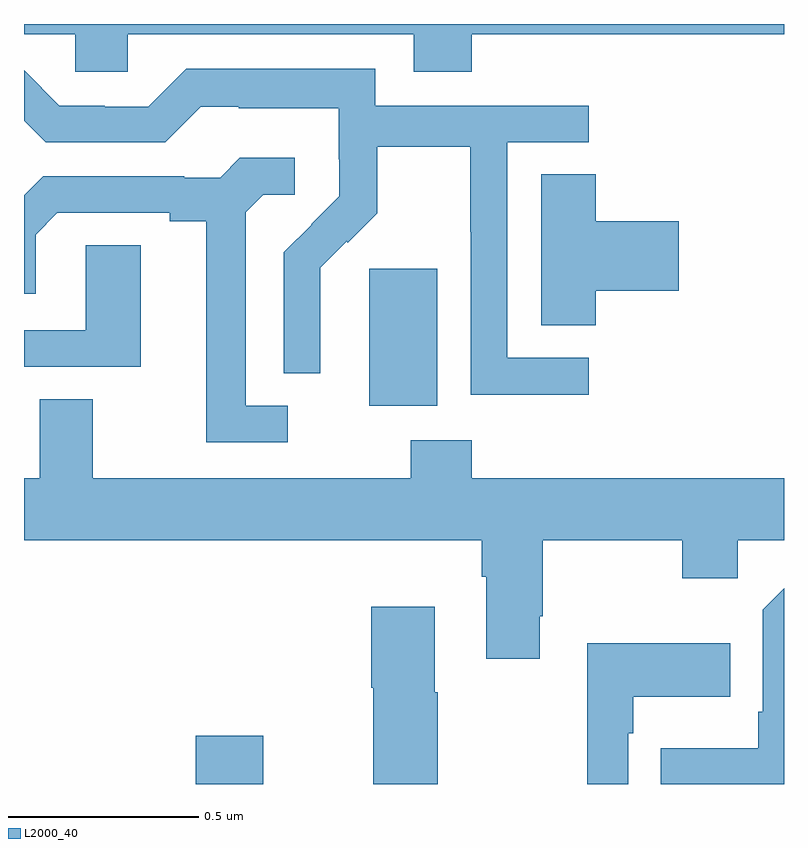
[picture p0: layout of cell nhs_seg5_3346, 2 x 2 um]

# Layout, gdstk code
import gdstk
lib = gdstk.Library(unit=1e-6, precision=1e-09)
def R(c, l, rs):  # rectangles x0, y0, x1, y1
    for r in rs: c.add(gdstk.rectangle(r[:2], r[2:], *l))
def P(c, l, *ps):  # polygons
    for p in ps: c.add(gdstk.Polygon(p, *l))
L2000_40 = (2000, 40)

nhs_seg5_3346 = lib.new_cell('nhs_seg5_3346')
R(nhs_seg5_3346, L2000_40, [(156.452,842.799,156.63,842.926), (156.908,843.794,157.087,844.155)])
P(nhs_seg5_3346, L2000_40, [(157.178,844.772),(158,844.772),(158,844.799),(156,844.799),(156,844.772),(156.135,844.772),(156.135,844.674),(156.273,844.674),(156.273,844.772),(157.025,844.772),(157.025,844.673),(157.178,844.673)],
  [(157.486,843.921),(157.272,843.921),(157.272,844.488),(157.486,844.488),(157.486,844.584),(156.924,844.584),(156.924,844.681),(156.427,844.681),(156.327,844.581),(156.212,844.581),(156.212,844.584),(156.093,844.584),(156,844.677),(156,844.545),(156.057,844.488),(156.372,844.488),(156.465,844.581),(156.565,844.581),(156.565,844.577),(156.828,844.577),(156.828,844.443),(156.83,844.443),(156.83,844.346),(156.756,844.272),(156.757,844.271),(156.684,844.198),(156.684,843.88),(156.78,843.88),(156.78,844.034),(156.779,844.034),(156.779,844.157),(156.849,844.227),(156.852,844.224),(156.929,844.301),(156.929,844.476),(157.174,844.476),(157.174,844.252),(157.176,844.252),(157.176,843.823),(157.486,843.823)],
  [(156.694,843.795),(156.583,843.795),(156.583,844.303),(156.63,844.35),(156.712,844.35),(156.712,844.447),(156.568,844.447),(156.516,844.395),(156.422,844.395),(156.422,844.398),(156.05,844.398),(156,844.348),(156,844.089),(156.031,844.089),(156.031,844.245),(156.088,844.302),(156.383,844.302),(156.383,844.28),(156.479,844.28),(156.479,843.699),(156.694,843.699)],
  [(157.505,844.097),(157.723,844.097),(157.723,844.28),(157.505,844.28),(157.505,844.403),(157.361,844.403),(157.361,844.006),(157.505,844.006)],
  [(156.307,844.217),(156.162,844.217),(156.162,843.993),(156,843.993),(156,843.897),(156.307,843.897)],
  [(157.357,843.241),(157.365,843.241),(157.365,843.44),(157.732,843.44),(157.732,843.341),(157.878,843.341),(157.878,843.44),(158,843.44),(158,843.604),(157.178,843.604),(157.178,843.703),(157.018,843.703),(157.018,843.604),(156.181,843.604),(156.181,843.812),(156.041,843.812),(156.041,843.604),(156,843.604),(156,843.44),(157.205,843.44),(157.205,843.344),(157.217,843.344),(157.217,843.129),(157.357,843.129)],
  [(158,843.314),(157.944,843.258),(157.944,842.989),(157.932,842.989),(157.932,842.893),(157.675,842.893),(157.675,842.799),(158,842.799)],
  [(157.089,843.041),(157.081,843.041),(157.081,843.265),(156.914,843.265),(156.914,843.052),(156.919,843.052),(156.919,842.799),(157.089,842.799)],
  [(157.59,842.933),(157.603,842.933),(157.603,843.029),(157.859,843.029),(157.859,843.169),(157.482,843.169),(157.482,842.799),(157.59,842.799)])

lib.write_gds('nhs_seg5_3346.gds')
